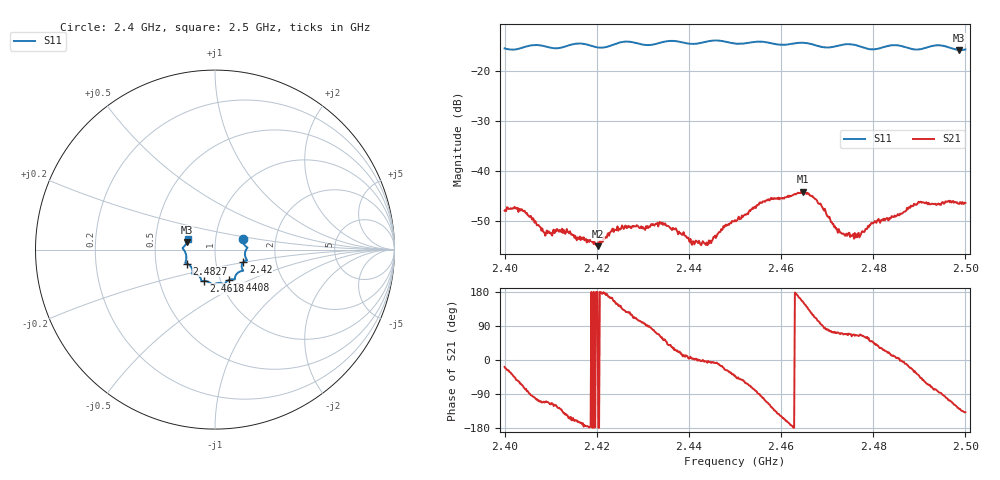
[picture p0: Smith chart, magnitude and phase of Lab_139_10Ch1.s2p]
# Hz S RI R 50
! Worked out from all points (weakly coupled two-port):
!   601 points, 2.4 GHz to 2.5 GHz, reference 50 ohm
!   highest |S21| = -44.20 dB at 2.4648 GHz (marker M1); lowest = -55.1 dB at 2.4202 GHz (marker M2)
!   lowest |S11| = -15.8 dB at 2.4987 GHz (marker M3), VSWR 1.39, Z = 36.4 + j3.16 ohm
!   |S11| at or under -10 dB: start of sweep to end of sweep
!   S12 and S22 are empty: the file has one direction only
!   S11 on the Smith chart (normalised r, x): 2.4 GHz: 1.36, +0.17; 2.42 GHz: 1.36, -0.19; 2.4408 GHz: 1.10, -0.39; 2.4618 GHz: 0.84, -0.30; 2.4827 GHz: 0.72, -0.12; 2.5 GHz: 0.73, +0.09
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2.4e9  0.1561 0.0618  0.00379 -0.00125  0 0  0 0
2.403833e9  0.1695 0.02  0.00162 -0.00374  0 0  0 0
2.408833e9  0.1756 0.00365  -0.000812 -0.00209  0 0  0 0
2.416667e9  0.178 -0.0594  -0.00207 -0.000533  0 0  0 0
2.42e9  0.158 -0.0693  -0.00185 8.18e-05  0 0  0 0
2.420167e9  0.1567 -0.0704  -0.00176 7.69e-06  0 0  0 0
2.424e9  0.1518 -0.1076  -0.00227 0.0012  0 0  0 0
2.433333e9  0.1119 -0.152  0.00101 0.00258  0 0  0 0
2.440833e9  0.0789 -0.1689  0.00196 0.000154  0 0  0 0
2.4445e9  0.0544 -0.1917  0.00189 -0.000187  0 0  0 0
2.45e9  0.0278 -0.1859  0.00241 -0.00213  0 0  0 0
2.455833e9  -0.014 -0.1954  -0.00061 -0.00474  0 0  0 0
2.461833e9  -0.0602 -0.1751  -0.0055 -0.0012  0 0  0 0
2.464833e9  -0.0751 -0.1757  -0.00544 0.00291  0 0  0 0
2.466667e9  -0.077 -0.1684  -0.00301 0.00466  0 0  0 0
2.4735e9  -0.124 -0.1352  0.000909 0.00218  0 0  0 0
2.476667e9  -0.1254 -0.127  0.00101 0.00213  0 0  0 0
2.482667e9  -0.1573 -0.0778  0.003 0.00133  0 0  0 0
2.483333e9  -0.1612 -0.0763  0.00299 0.00111  0 0  0 0
2.490167e9  -0.1632 -0.0203  0.00339 -0.00353  0 0  0 0
2.498667e9  -0.1559 0.0423  -0.00297 -0.0036  0 0  0 0
2.5e9  -0.1519 0.0617  -0.00355 -0.00321  0 0  0 0
